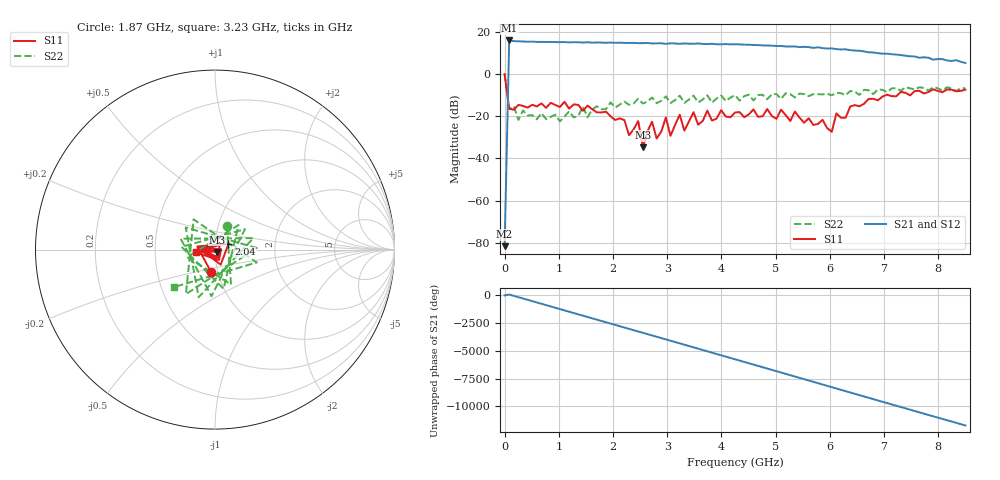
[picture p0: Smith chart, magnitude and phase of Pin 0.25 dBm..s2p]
! RsaToolbox (C) 2013 Rohde & Schwarz America
! Number of points: 101
! Number of ports: 2
! Balanced ports?: 0
# Hz S RI R 50
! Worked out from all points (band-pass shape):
!   101 points, 9 kHz to 8.5 GHz, reference 50 ohm
!   highest |S21| = 15.97 dB at 85.01 MHz (marker M1); lowest = -81.6 dB at 9 kHz (marker M2)
!   |S21| within 3 dB of the highest: 82.4 MHz to 5.399 GHz (5.317 GHz wide, 194 % of centre)
!   lowest |S11| = -34.7 dB at 2.55 GHz (marker M3), VSWR 1.04, Z = 51.3 - j1.3 ohm
!   |S11| at or under -10 dB: 52.04 MHz to 7.031 GHz (6.979 GHz wide, 197 % of centre); 7.086 GHz to 7.245 GHz (159.1 MHz wide, 2.22 % of centre); 7.474036 GHz to 7.483523 GHz (9.487 MHz wide, 0.127 % of centre)
!   |S22| runs from -22.4 to 0.1 dB; largest |S21 - S12| = 0
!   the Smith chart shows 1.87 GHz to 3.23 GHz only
!   S11 on the Smith chart (normalised r, x): 1.87 GHz: 0.93, -0.24; 2.04 GHz: 1.16, +0.07; 3.23 GHz: 0.80, -0.02
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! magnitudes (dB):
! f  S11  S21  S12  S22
! 9 kHz  0.0  -81.6  -81.6  0.1
! 85.01 MHz  -16.3  16.0  16.0  -16.6
! 1.02 GHz  -15.6  15.2  15.2  -22.4
! 1.445 GHz  -17.4  15.0  15.0  -15.3
! 1.87 GHz  -17.8  14.9  14.9  -16.6
! 2.04 GHz  -21.8  14.8  14.8  -15.9
! 2.295 GHz  -29.0  14.8  14.8  -14.6
! 2.465 GHz  -22.3  14.7  14.7  -11.7
! 2.55 GHz  -34.7  14.7  14.7  -13.9
! 2.72 GHz  -22.6  14.6  14.6  -11.1
! 2.89 GHz  -27.2  14.6  14.6  -12.7
! 2.975 GHz  -20.6  14.3  14.3  -10.6
! 3.06 GHz  -29.3  14.6  14.6  -13.7
! 3.23 GHz  -19.2  14.4  14.4  -10.2
! 3.315 GHz  -26.8  14.6  14.6  -13.6
! 3.485 GHz  -18.0  14.4  14.4  -10.2
! 4.25 GHz  -18.2  14.2  14.2  -9.9
! 5.695 GHz  -24.1  12.4  12.4  -9.5
! 6.035 GHz  -27.3  12.2  12.2  -10.0
! 6.12 GHz  -18.7  11.9  11.9  -8.8
! 7.14 GHz  -10.5  9.4  9.4  -6.8
! 8.5 GHz  -7.4  5.3  5.3  -6.7
